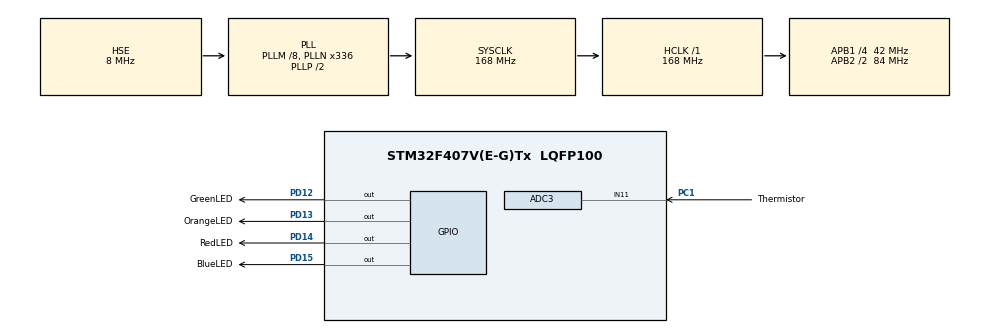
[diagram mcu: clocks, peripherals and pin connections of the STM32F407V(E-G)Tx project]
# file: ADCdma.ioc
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ADC1.Channel-1\#ChannelRegularConversion=ADC_CHANNEL_TEMPSENSOR
ADC1.ContinuousConvMode=ENABLE
ADC1.DMAContinuousRequests=ENABLE
ADC1.NbrOfConversionFlag=1
ADC1.Rank-1\#ChannelRegularConversion=1
ADC1.SamplingTime-1\#ChannelRegularConversion=ADC_SAMPLETIME_84CYCLES
ADC1.master=1
ADC3.Channel-0\#ChannelRegularConversion=ADC_CHANNEL_11
ADC3.ContinuousConvMode=ENABLE
ADC3.DMAContinuousRequests=ENABLE
ADC3.NbrOfConversionFlag=1
ADC3.Rank-0\#ChannelRegularConversion=1
ADC3.SamplingTime-0\#ChannelRegularConversion=ADC_SAMPLETIME_84CYCLES
Dma.ADC1.0.Direction=DMA_PERIPH_TO_MEMORY
Dma.ADC1.0.FIFOMode=DMA_FIFOMODE_DISABLE
Dma.ADC1.0.Instance=DMA2_Stream4
Dma.ADC1.0.MemDataAlignment=DMA_MDATAALIGN_WORD
Dma.ADC1.0.MemInc=DMA_MINC_ENABLE
Dma.ADC1.0.Mode=DMA_CIRCULAR
Dma.ADC1.0.PeriphDataAlignment=DMA_PDATAALIGN_WORD
Dma.ADC1.0.PeriphInc=DMA_PINC_DISABLE
Dma.ADC1.0.Priority=DMA_PRIORITY_LOW
Dma.ADC3.1.Direction=DMA_PERIPH_TO_MEMORY
Dma.ADC3.1.FIFOMode=DMA_FIFOMODE_DISABLE
Dma.ADC3.1.Instance=DMA2_Stream0
Dma.ADC3.1.MemDataAlignment=DMA_MDATAALIGN_WORD
Dma.ADC3.1.MemInc=DMA_MINC_ENABLE
Dma.ADC3.1.Mode=DMA_CIRCULAR
Dma.ADC3.1.PeriphDataAlignment=DMA_PDATAALIGN_WORD
Dma.ADC3.1.PeriphInc=DMA_PINC_DISABLE
Dma.ADC3.1.Priority=DMA_PRIORITY_LOW
Dma.Request0=ADC1
Dma.Request1=ADC3
Mcu.Family=STM32F4
Mcu.Name=STM32F407V(E-G)Tx
Mcu.Package=LQFP100
NVIC.DMA2_Stream0_IRQn=true\:0\:0\:false\:false\:true\:false\:true
NVIC.DMA2_Stream4_IRQn=true\:0\:0\:false\:false\:true\:false\:true
NVIC.PriorityGroup=NVIC_PRIORITYGROUP_4
PA13.Mode=Trace_Asynchronous_SW
PA13.Signal=SYS_JTMS-SWDIO
PA14.Mode=Trace_Asynchronous_SW
PA14.Signal=SYS_JTCK-SWCLK
PB3.Mode=Trace_Asynchronous_SW
PB3.Signal=SYS_JTDO-SWO
PC1.GPIO_Label=Thermistor
PC1.Signal=ADCx_IN11
PD12.GPIO_Label=GreenLED
PD12.Signal=GPIO_Output
PD13.GPIO_Label=OrangeLED
PD13.Signal=GPIO_Output
PD14.GPIO_Label=RedLED
PD14.Signal=GPIO_Output
PD15.GPIO_Label=BlueLED
PD15.Signal=GPIO_Output
PH0-OSC_IN.Mode=HSE-External-Oscillator
PH0-OSC_IN.Signal=RCC_OSC_IN
PH1-OSC_OUT.Mode=HSE-External-Oscillator
PH1-OSC_OUT.Signal=RCC_OSC_OUT
ProjectManager.HeapSize=0x200
ProjectManager.StackSize=0x400
ProjectManager.TargetToolchain=STM32CubeIDE
RCC.48MHZClocksFreq_Value=48000000
RCC.AHBFreq_Value=168000000
RCC.APB1CLKDivider=RCC_HCLK_DIV4
RCC.APB1Freq_Value=42000000
RCC.APB1TimFreq_Value=84000000
RCC.APB2CLKDivider=RCC_HCLK_DIV2
RCC.APB2Freq_Value=84000000
RCC.APB2TimFreq_Value=168000000
RCC.CortexFreq_Value=168000000
RCC.HCLKFreq_Value=168000000
RCC.HSE_VALUE=8000000
RCC.HSI_VALUE=16000000
RCC.LSE_VALUE=32768
RCC.PLLM=8
RCC.PLLN=336
RCC.PLLQ=7
RCC.PLLSourceVirtual=RCC_PLLSOURCE_HSE
RCC.SYSCLKFreq_VALUE=168000000
RCC.SYSCLKSource=RCC_SYSCLKSOURCE_PLLCLK
RCC.VCOOutputFreq_Value=336000000
SH.ADCx_IN11.0=ADC3_IN11,IN11
VP_ADC1_TempSens_Input.Mode=IN-TempSens
VP_RNG_VS_RNG.Mode=RNG_Activate
board=custom

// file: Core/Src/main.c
/* USER CODE BEGIN Header */
/**
  ******************************************************************************
  * @file           : main.c
  * @brief          : Main program body
  ******************************************************************************
  * @attention
  *
  * <h2><center>&copy; Copyright (c) 2020 STMicroelectronics.
  * All rights reserved.</center></h2>
  *
  * This software component is licensed by ST under BSD 3-Clause license,
  * the "License"; You may not use this file except in compliance with the
  * License. You may obtain a copy of the License at:
  *                        opensource.org/licenses/BSD-3-Clause
  *
  ******************************************************************************
  */
/* USER CODE END Header */
#include "main.h"

ADC_HandleTypeDef hadc1;
ADC_HandleTypeDef hadc3;
DMA_HandleTypeDef hdma_adc1;
DMA_HandleTypeDef hdma_adc3;

RNG_HandleTypeDef hrng;

/* USER CODE BEGIN PV */
uint32_t thermArray[100];
uint32_t thermVal;
uint32_t dieVal;
uint32_t dieArray[100];
float stein;
float calc;
int resistor = 100000;
float X;
float dieCalc;
void ThermMath();
void dieMath();
float TempD;
/* USER CODE END PV */

void SystemClock_Config(void);
static void MX_GPIO_Init(void);
static void MX_DMA_Init(void);
static void MX_RNG_Init(void);
static void MX_ADC1_Init(void);
static void MX_ADC3_Init(void);

int main(void)
{

  /* MCU Configuration--------------------------------------------------------*/

  /* Reset of all peripherals, Initializes the Flash interface and the Systick. */
  HAL_Init();

  /* Configure the system clock */
  SystemClock_Config();

  /* Initialize all configured peripherals */
  MX_GPIO_Init();
  MX_DMA_Init();
  MX_RNG_Init();
  MX_ADC1_Init();
  MX_ADC3_Init();
  /* USER CODE BEGIN 2 */
HAL_ADC_Start_DMA(&hadc3, thermArray, 100);
HAL_ADC_Start_DMA(&hadc1, dieArray, 100);
  /* USER CODE END 2 */

  /* Infinite loop */
  /* USER CODE BEGIN WHILE */
  while (1)
  {

	  thermVal = 0;

	  for(int x=0;x<100;x++)

		 thermVal += thermArray[x];

	  	  thermVal/=100;

	  dieVal = 0;
	  	  for(int x=0;x<100;x++)

	  		 dieVal += dieArray[x];

	  		 dieVal/=100;

	  ThermMath();
	  dieMath();

	  	  	  	  HAL_GPIO_WritePin(OrangeLED_GPIO_Port, OrangeLED_Pin, GPIO_PIN_SET);

	 	 	 	  HAL_Delay(250);

	 	 	 	  HAL_GPIO_WritePin(OrangeLED_GPIO_Port, OrangeLED_Pin, GPIO_PIN_RESET);

	 	 	 	  HAL_Delay(250);

    /* USER CODE END WHILE */

  }
}

void SystemClock_Config(void)
{
  RCC_OscInitTypeDef RCC_OscInitStruct = {0};
  RCC_ClkInitTypeDef RCC_ClkInitStruct = {0};

  /** Configure the main internal regulator output voltage
  */
  __HAL_RCC_PWR_CLK_ENABLE();
  __HAL_PWR_VOLTAGESCALING_CONFIG(PWR_REGULATOR_VOLTAGE_SCALE1);
  /** Initializes the RCC Oscillators according to the specified parameters
  * in the RCC_OscInitTypeDef structure.
  */
  RCC_OscInitStruct.OscillatorType = RCC_OSCILLATORTYPE_HSE;
  RCC_OscInitStruct.HSEState = RCC_HSE_ON;
  RCC_OscInitStruct.PLL.PLLState = RCC_PLL_ON;
  RCC_OscInitStruct.PLL.PLLSource = RCC_PLLSOURCE_HSE;
  RCC_OscInitStruct.PLL.PLLM = 8;
  RCC_OscInitStruct.PLL.PLLN = 336;
  RCC_OscInitStruct.PLL.PLLP = RCC_PLLP_DIV2;
  RCC_OscInitStruct.PLL.PLLQ = 7;
  if (HAL_RCC_OscConfig(&RCC_OscInitStruct) != HAL_OK)
  {
    Error_Handler();
  }
  /** Initializes the CPU, AHB and APB buses clocks
  */
  RCC_ClkInitStruct.ClockType = RCC_CLOCKTYPE_HCLK|RCC_CLOCKTYPE_SYSCLK
                              |RCC_CLOCKTYPE_PCLK1|RCC_CLOCKTYPE_PCLK2;
  RCC_ClkInitStruct.SYSCLKSource = RCC_SYSCLKSOURCE_PLLCLK;
  RCC_ClkInitStruct.AHBCLKDivider = RCC_SYSCLK_DIV1;
  RCC_ClkInitStruct.APB1CLKDivider = RCC_HCLK_DIV4;
  RCC_ClkInitStruct.APB2CLKDivider = RCC_HCLK_DIV2;

  if (HAL_RCC_ClockConfig(&RCC_ClkInitStruct, FLASH_LATENCY_5) != HAL_OK)
  {
    Error_Handler();
  }
}

static void MX_ADC1_Init(void)
{

  ADC_ChannelConfTypeDef sConfig = {0};

  /** Configure the global features of the ADC (Clock, Resolution, Data Alignment and number of conversion)
  */
  hadc1.Instance = ADC1;
  hadc1.Init.ClockPrescaler = ADC_CLOCK_SYNC_PCLK_DIV4;
  hadc1.Init.Resolution = ADC_RESOLUTION_12B;
  hadc1.Init.ScanConvMode = DISABLE;
  hadc1.Init.ContinuousConvMode = ENABLE;
  hadc1.Init.DiscontinuousConvMode = DISABLE;
  hadc1.Init.ExternalTrigConvEdge = ADC_EXTERNALTRIGCONVEDGE_NONE;
  hadc1.Init.ExternalTrigConv = ADC_SOFTWARE_START;
  hadc1.Init.DataAlign = ADC_DATAALIGN_RIGHT;
  hadc1.Init.NbrOfConversion = 1;
  hadc1.Init.DMAContinuousRequests = ENABLE;
  hadc1.Init.EOCSelection = ADC_EOC_SINGLE_CONV;
  if (HAL_ADC_Init(&hadc1) != HAL_OK)
  {
    Error_Handler();
  }
  /** Configure for the selected ADC regular channel its corresponding rank in the sequencer and its sample time.
  */
  sConfig.Channel = ADC_CHANNEL_TEMPSENSOR;
  sConfig.Rank = 1;
  sConfig.SamplingTime = ADC_SAMPLETIME_84CYCLES;
  if (HAL_ADC_ConfigChannel(&hadc1, &sConfig) != HAL_OK)
  {
    Error_Handler();
  }

}

static void MX_ADC3_Init(void)
{

  ADC_ChannelConfTypeDef sConfig = {0};

  /** Configure the global features of the ADC (Clock, Resolution, Data Alignment and number of conversion)
  */
  hadc3.Instance = ADC3;
  hadc3.Init.ClockPrescaler = ADC_CLOCK_SYNC_PCLK_DIV4;
  hadc3.Init.Resolution = ADC_RESOLUTION_12B;
  hadc3.Init.ScanConvMode = DISABLE;
  hadc3.Init.ContinuousConvMode = ENABLE;
  hadc3.Init.DiscontinuousConvMode = DISABLE;
  hadc3.Init.ExternalTrigConvEdge = ADC_EXTERNALTRIGCONVEDGE_NONE;
  hadc3.Init.ExternalTrigConv = ADC_SOFTWARE_START;
  hadc3.Init.DataAlign = ADC_DATAALIGN_RIGHT;
  hadc3.Init.NbrOfConversion = 1;
  hadc3.Init.DMAContinuousRequests = ENABLE;
  hadc3.Init.EOCSelection = ADC_EOC_SINGLE_CONV;
  if (HAL_ADC_Init(&hadc3) != HAL_OK)
  {
    Error_Handler();
  }
  /** Configure for the selected ADC regular channel its corresponding rank in the sequencer and its sample time.
  */
  sConfig.Channel = ADC_CHANNEL_11;
  sConfig.Rank = 1;
  sConfig.SamplingTime = ADC_SAMPLETIME_84CYCLES;
  if (HAL_ADC_ConfigChannel(&hadc3, &sConfig) != HAL_OK)
  {
    Error_Handler();
  }

}

static void MX_RNG_Init(void)
{

  hrng.Instance = RNG;
  if (HAL_RNG_Init(&hrng) != HAL_OK)
  {
    Error_Handler();
  }

}

static void MX_DMA_Init(void)
{

  /* DMA controller clock enable */
  __HAL_RCC_DMA2_CLK_ENABLE();

  /* DMA interrupt init */
  /* DMA2_Stream0_IRQn interrupt configuration */
  HAL_NVIC_SetPriority(DMA2_Stream0_IRQn, 0, 0);
  HAL_NVIC_EnableIRQ(DMA2_Stream0_IRQn);
  /* DMA2_Stream4_IRQn interrupt configuration */
  HAL_NVIC_SetPriority(DMA2_Stream4_IRQn, 0, 0);
  HAL_NVIC_EnableIRQ(DMA2_Stream4_IRQn);

}

static void MX_GPIO_Init(void)
{
  GPIO_InitTypeDef GPIO_InitStruct = {0};

  /* GPIO Ports Clock Enable */
  __HAL_RCC_GPIOH_CLK_ENABLE();
  __HAL_RCC_GPIOC_CLK_ENABLE();
  __HAL_RCC_GPIOD_CLK_ENABLE();
  __HAL_RCC_GPIOA_CLK_ENABLE();
  __HAL_RCC_GPIOB_CLK_ENABLE();

  /*Configure GPIO pin Output Level */
  HAL_GPIO_WritePin(GPIOD, GreenLED_Pin|OrangeLED_Pin|RedLED_Pin|BlueLED_Pin, GPIO_PIN_RESET);

  /*Configure GPIO pins : GreenLED_Pin OrangeLED_Pin RedLED_Pin BlueLED_Pin */
  GPIO_InitStruct.Pin = GreenLED_Pin|OrangeLED_Pin|RedLED_Pin|BlueLED_Pin;
  GPIO_InitStruct.Mode = GPIO_MODE_OUTPUT_PP;
  GPIO_InitStruct.Pull = GPIO_NOPULL;
  GPIO_InitStruct.Speed = GPIO_SPEED_FREQ_LOW;
  HAL_GPIO_Init(GPIOD, &GPIO_InitStruct);

}

/* USER CODE BEGIN 4 */

int __io_putchar(int ch)
{
	ITM_SendChar(ch);
	return 0;
}

void ThermMath(){
	 	 	 	 	  calc = (4095.0/(thermVal)-1);    //This Calculates our resistor on the thermistor.
		 	 	      calc = (10000/calc);
		 	 	      //printf("Analog read is: %li \n", thermVal);         //This prints our values to the data console.
		 	 	     // printf("Thermistor resistance: %.2f \n", calc);

		 	 	      stein = (calc/resistor);                    //This part converts our resistor readings into our temperature readings.
		 	 	      stein = (log(stein));
		 	 	      stein = ((stein)*(1.0/3950.0));
		 	 	      stein = (stein+(1.0/(298.15)));
		 	 	      stein = (1.0/stein);
		 	 	      stein = (stein-273.15);

		 	 	      X = stein;
		 	 	      printf("Temperature from thermistor: %.1f C\n ", X);
		 	 	      HAL_Delay(1000);
}

void dieMath()
{
    TempD = dieVal/4095.0;
     TempD =(TempD*3.0);
    	TempD = ((TempD-0.76)/0.0025)+25.0;
	printf("Temperature from chip: %.1f\n", TempD);
}
/* USER CODE END 4 */

void Error_Handler(void)
{
}

/************************ (C) COPYRIGHT STMicroelectronics *****END OF FILE****/
